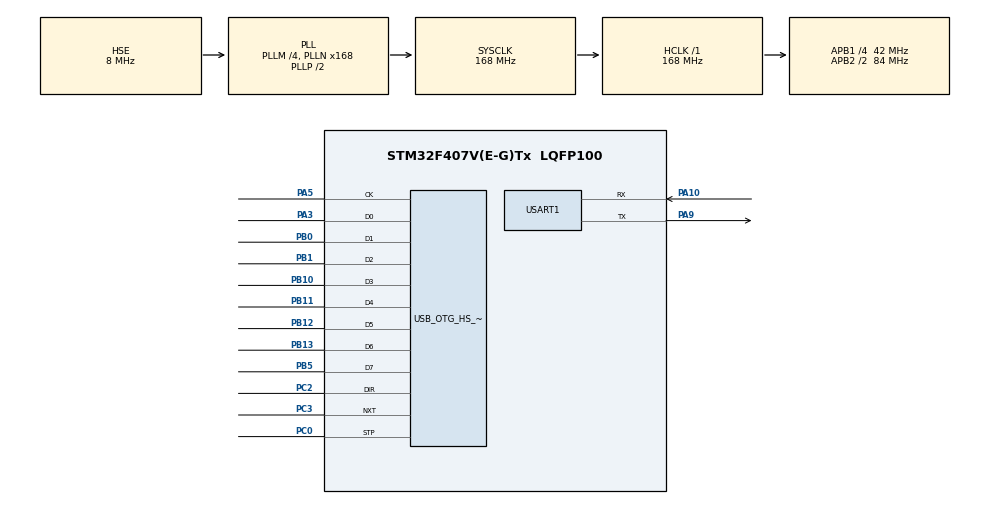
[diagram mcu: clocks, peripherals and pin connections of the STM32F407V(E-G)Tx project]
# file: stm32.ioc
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Mcu.Family=STM32F4
Mcu.Name=STM32F407V(E-G)Tx
Mcu.Package=LQFP100
NVIC.OTG_HS_IRQn=true\:0\:0\:false\:false\:true\:false\:true\:true
NVIC.PriorityGroup=NVIC_PRIORITYGROUP_4
PA10.Mode=Asynchronous
PA10.Signal=USART1_RX
PA13.Mode=Serial_Wire
PA13.Signal=SYS_JTMS-SWDIO
PA14.Mode=Serial_Wire
PA14.Signal=SYS_JTCK-SWCLK
PA3.Mode=Device_HS
PA3.Signal=USB_OTG_HS_ULPI_D0
PA5.Mode=Device_HS
PA5.Signal=USB_OTG_HS_ULPI_CK
PA9.Mode=Asynchronous
PA9.Signal=USART1_TX
PB0.Mode=Device_HS
PB0.Signal=USB_OTG_HS_ULPI_D1
PB1.Mode=Device_HS
PB1.Signal=USB_OTG_HS_ULPI_D2
PB10.Mode=Device_HS
PB10.Signal=USB_OTG_HS_ULPI_D3
PB11.Mode=Device_HS
PB11.Signal=USB_OTG_HS_ULPI_D4
PB12.Mode=Device_HS
PB12.Signal=USB_OTG_HS_ULPI_D5
PB13.Mode=Device_HS
PB13.Signal=USB_OTG_HS_ULPI_D6
PB5.Mode=Device_HS
PB5.Signal=USB_OTG_HS_ULPI_D7
PC0.Mode=Device_HS
PC0.Signal=USB_OTG_HS_ULPI_STP
PC2.Mode=Device_HS
PC2.Signal=USB_OTG_HS_ULPI_DIR
PC3.Mode=Device_HS
PC3.Signal=USB_OTG_HS_ULPI_NXT
PH0-OSC_IN.Mode=HSE-External-Oscillator
PH0-OSC_IN.Signal=RCC_OSC_IN
PH1-OSC_OUT.Mode=HSE-External-Oscillator
PH1-OSC_OUT.Signal=RCC_OSC_OUT
ProjectManager.HeapSize=0x200
ProjectManager.StackSize=0x400
ProjectManager.TargetToolchain=CMake
RCC.48MHZClocksFreq_Value=84000000
RCC.AHBFreq_Value=168000000
RCC.APB1CLKDivider=RCC_HCLK_DIV4
RCC.APB1Freq_Value=42000000
RCC.APB1TimFreq_Value=84000000
RCC.APB2CLKDivider=RCC_HCLK_DIV2
RCC.APB2Freq_Value=84000000
RCC.APB2TimFreq_Value=168000000
RCC.CortexFreq_Value=168000000
RCC.HCLKFreq_Value=168000000
RCC.HSE_VALUE=8000000
RCC.HSI_VALUE=16000000
RCC.LSE_VALUE=32768
RCC.PLLM=4
RCC.PLLN=168
RCC.PLLSourceVirtual=RCC_PLLSOURCE_HSE
RCC.SYSCLKFreq_VALUE=168000000
RCC.SYSCLKSource=RCC_SYSCLKSOURCE_PLLCLK
RCC.VCOOutputFreq_Value=336000000
USART1.VirtualMode=VM_ASYNC
USB_DEVICE.CLASS_NAME_HS=CDC
USB_DEVICE.VirtualMode-CDC_HS=Cdc
USB_DEVICE.VirtualModeHS=Cdc_HS
USB_OTG_HS.VirtualMode-Device_HS=Device_HS
USB_OTG_HS.dma_enable-Device_HS=ENABLE
VP_USB_DEVICE_VS_USB_DEVICE_CDC_HS.Mode=CDC_HS
board=custom

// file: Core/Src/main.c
/* USER CODE BEGIN Header */
/**
 ******************************************************************************
 * @file           : main.c
 * @brief          : Main program body
 ******************************************************************************
 * @attention
 *
 * Copyright (c) 2026 STMicroelectronics.
 * All rights reserved.
 *
 * This software is licensed under terms that can be found in the LICENSE file
 * in the root directory of this software component.
 * If no LICENSE file comes with this software, it is provided AS-IS.
 *
 ******************************************************************************
 */
/* USER CODE END Header */
#include "main.h"
#include "usb_device.h"

/* USER CODE BEGIN Includes */
#include "dwt_systime.h"
#include "usbd_cdc_if.h"
#include <stdbool.h>
#include <string.h>

/* USER CODE END Includes */

UART_HandleTypeDef huart1;

void SystemClock_Config(void);
static void MX_GPIO_Init(void);
static void MX_USART1_UART_Init(void);

/* USER CODE BEGIN 0 */

int __io_putchar(int ch)
{
  // HAL_UART_Transmit(&huart1, (uint8_t *)&ch, 1, HAL_MAX_DELAY);
  // return ch;

  while ((USART1->SR & USART_SR_TXE) == 0)
    ;
  USART1->DR = ch;
  return ch;
}

#define tx_buf_size 32768

typedef union
{
  struct
  {
    uint32_t start;
    uint8_t payload[tx_buf_size - 8];
    uint32_t end;
  } data;
  uint8_t raw_buf[tx_buf_size]; // 方便 USB 发送的原始字节数组
} TxPacket_t;

TxPacket_t tx_packet[2];
uint8_t tx_packet_idx = 0;

uint8_t is_finish = 1;
uint8_t is_start = 0;
uint32_t count = 0;

/* USER CODE END 0 */

int main(void)
{

  /* MCU Configuration--------------------------------------------------------*/

  /* Reset of all peripherals, Initializes the Flash interface and the Systick. */
  HAL_Init();

  /* Configure the system clock */
  SystemClock_Config();

  /* Initialize all configured peripherals */
  MX_GPIO_Init();
  MX_USART1_UART_Init();
  MX_USB_DEVICE_Init();
  /* USER CODE BEGIN 2 */

  dwt_systime_init();

  printf("init\n");

  memset(&tx_packet[0], 0, sizeof(TxPacket_t));
  memset(&tx_packet[1], 0, sizeof(TxPacket_t));

  /* USER CODE END 2 */

  /* Infinite loop */
  while (1)
  {

    /* USER CODE BEGIN 3 */
    if (is_start)
    {

      if (CDC_Transmit_HS(tx_packet[tx_packet_idx].raw_buf, tx_buf_size) == USBD_OK)
      {
        count++;
        uint8_t next = (tx_packet_idx + 1) % 2;
        tx_packet[next].data.start = count;
        tx_packet[next].data.end = count;
        tx_packet_idx = next;
      }

    }
    else
    {
      HAL_Delay(1);
    }
  }
  /* USER CODE END 3 */
}

void SystemClock_Config(void)
{
  RCC_OscInitTypeDef RCC_OscInitStruct = {0};
  RCC_ClkInitTypeDef RCC_ClkInitStruct = {0};

  /** Configure the main internal regulator output voltage
  */
  __HAL_RCC_PWR_CLK_ENABLE();
  __HAL_PWR_VOLTAGESCALING_CONFIG(PWR_REGULATOR_VOLTAGE_SCALE1);

  /** Initializes the RCC Oscillators according to the specified parameters
  * in the RCC_OscInitTypeDef structure.
  */
  RCC_OscInitStruct.OscillatorType = RCC_OSCILLATORTYPE_HSE;
  RCC_OscInitStruct.HSEState = RCC_HSE_ON;
  RCC_OscInitStruct.PLL.PLLState = RCC_PLL_ON;
  RCC_OscInitStruct.PLL.PLLSource = RCC_PLLSOURCE_HSE;
  RCC_OscInitStruct.PLL.PLLM = 4;
  RCC_OscInitStruct.PLL.PLLN = 168;
  RCC_OscInitStruct.PLL.PLLP = RCC_PLLP_DIV2;
  RCC_OscInitStruct.PLL.PLLQ = 4;
  if (HAL_RCC_OscConfig(&RCC_OscInitStruct) != HAL_OK)
  {
    Error_Handler();
  }

  /** Initializes the CPU, AHB and APB buses clocks
  */
  RCC_ClkInitStruct.ClockType = RCC_CLOCKTYPE_HCLK|RCC_CLOCKTYPE_SYSCLK
                              |RCC_CLOCKTYPE_PCLK1|RCC_CLOCKTYPE_PCLK2;
  RCC_ClkInitStruct.SYSCLKSource = RCC_SYSCLKSOURCE_PLLCLK;
  RCC_ClkInitStruct.AHBCLKDivider = RCC_SYSCLK_DIV1;
  RCC_ClkInitStruct.APB1CLKDivider = RCC_HCLK_DIV4;
  RCC_ClkInitStruct.APB2CLKDivider = RCC_HCLK_DIV2;

  if (HAL_RCC_ClockConfig(&RCC_ClkInitStruct, FLASH_LATENCY_5) != HAL_OK)
  {
    Error_Handler();
  }
}

static void MX_USART1_UART_Init(void)
{

  huart1.Instance = USART1;
  huart1.Init.BaudRate = 115200;
  huart1.Init.WordLength = UART_WORDLENGTH_8B;
  huart1.Init.StopBits = UART_STOPBITS_1;
  huart1.Init.Parity = UART_PARITY_NONE;
  huart1.Init.Mode = UART_MODE_TX_RX;
  huart1.Init.HwFlowCtl = UART_HWCONTROL_NONE;
  huart1.Init.OverSampling = UART_OVERSAMPLING_16;
  if (HAL_UART_Init(&huart1) != HAL_OK)
  {
    Error_Handler();
  }

}

static void MX_GPIO_Init(void)
{

  /* GPIO Ports Clock Enable */
  __HAL_RCC_GPIOH_CLK_ENABLE();
  __HAL_RCC_GPIOC_CLK_ENABLE();
  __HAL_RCC_GPIOA_CLK_ENABLE();
  __HAL_RCC_GPIOB_CLK_ENABLE();

}

void Error_Handler(void)
{
  __disable_irq();
  while (1)
  {
  }
}
